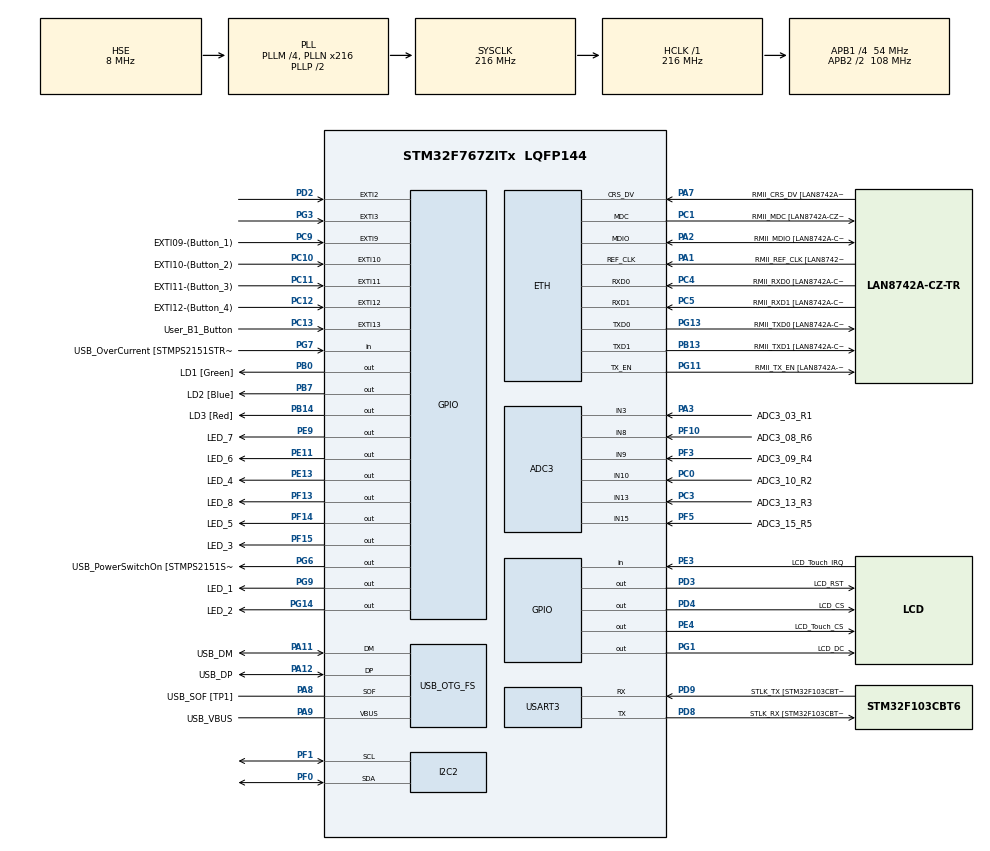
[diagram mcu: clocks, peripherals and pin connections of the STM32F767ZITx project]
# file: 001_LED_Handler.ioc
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ADC3.Channel-0\#ChannelRegularConversion=ADC_CHANNEL_3
ADC3.Channel-1\#ChannelRegularConversion=ADC_CHANNEL_10
ADC3.Channel-2\#ChannelRegularConversion=ADC_CHANNEL_13
ADC3.Channel-3\#ChannelRegularConversion=ADC_CHANNEL_9
ADC3.Channel-4\#ChannelRegularConversion=ADC_CHANNEL_15
ADC3.Channel-5\#ChannelRegularConversion=ADC_CHANNEL_8
ADC3.ContinuousConvMode=ENABLE
ADC3.DMAContinuousRequests=ENABLE
ADC3.DiscontinuousConvMode=DISABLE
ADC3.NbrOfConversion=6
ADC3.NbrOfConversionFlag=1
ADC3.Rank-0\#ChannelRegularConversion=1
ADC3.Rank-1\#ChannelRegularConversion=2
ADC3.Rank-2\#ChannelRegularConversion=3
ADC3.Rank-3\#ChannelRegularConversion=4
ADC3.Rank-4\#ChannelRegularConversion=5
ADC3.Rank-5\#ChannelRegularConversion=6
ADC3.SamplingTime-0\#ChannelRegularConversion=ADC_SAMPLETIME_480CYCLES
ADC3.SamplingTime-1\#ChannelRegularConversion=ADC_SAMPLETIME_480CYCLES
ADC3.SamplingTime-2\#ChannelRegularConversion=ADC_SAMPLETIME_480CYCLES
ADC3.SamplingTime-3\#ChannelRegularConversion=ADC_SAMPLETIME_480CYCLES
ADC3.SamplingTime-4\#ChannelRegularConversion=ADC_SAMPLETIME_480CYCLES
ADC3.SamplingTime-5\#ChannelRegularConversion=ADC_SAMPLETIME_480CYCLES
Dma.ADC3.0.Direction=DMA_PERIPH_TO_MEMORY
Dma.ADC3.0.FIFOMode=DMA_FIFOMODE_DISABLE
Dma.ADC3.0.Instance=DMA2_Stream0
Dma.ADC3.0.MemDataAlignment=DMA_MDATAALIGN_HALFWORD
Dma.ADC3.0.MemInc=DMA_MINC_DISABLE
Dma.ADC3.0.Mode=DMA_CIRCULAR
Dma.ADC3.0.PeriphDataAlignment=DMA_PDATAALIGN_HALFWORD
Dma.ADC3.0.PeriphInc=DMA_PINC_DISABLE
Dma.ADC3.0.Priority=DMA_PRIORITY_LOW
Dma.Request0=ADC3
ETH.MediaInterface=HAL_ETH_RMII_MODE
ETH.PHY_Name=LAN8742A_PHY_ADDRESS
ETH.PHY_Value=0
ETH.PhyAddress=0
I2C2.Timing=0x20404768
Mcu.Family=STM32F7
Mcu.Name=STM32F767ZITx
Mcu.Package=LQFP144
NVIC.DMA2_Stream0_IRQn=true\:0\:0\:false\:false\:true\:false\:true\:true
NVIC.EXTI15_10_IRQn=true\:1\:0\:true\:false\:true\:true\:true\:true
NVIC.PriorityGroup=NVIC_PRIORITYGROUP_4
PA1.GPIO_Label=RMII_REF_CLK [LAN8742A-CZ-TR_REFCLK0]
PA1.Mode=RMII
PA1.Signal=ETH_REF_CLK
PA10.GPIO_Label=USB_ID
PA10.Signal=USB_OTG_FS_ID
PA11.GPIO_Label=USB_DM
PA11.Mode=Device_Only
PA11.Signal=USB_OTG_FS_DM
PA12.GPIO_Label=USB_DP
PA12.Mode=Device_Only
PA12.Signal=USB_OTG_FS_DP
PA13.GPIO_Label=TMS
PA13.Mode=Serial_Wire
PA13.Signal=SYS_JTMS-SWDIO
PA14.GPIO_Label=TCK
PA14.Mode=Serial_Wire
PA14.Signal=SYS_JTCK-SWCLK
PA2.GPIO_Label=RMII_MDIO [LAN8742A-CZ-TR_MDIO]
PA2.Mode=RMII
PA2.Signal=ETH_MDIO
PA3.GPIO_Label=ADC3_03_R1
PA3.Signal=ADCx_IN3
PA6.GPIO_Label=TIM3_CH1-[RGB-RED]
PA6.Signal=S_TIM3_CH1
PA7.GPIO_Label=RMII_CRS_DV [LAN8742A-CZ-TR_CRS_DV]
PA7.Mode=RMII
PA7.Signal=ETH_CRS_DV
PA8.GPIO_Label=USB_SOF [TP1]
PA8.Mode=Activate_SOF_FS
PA8.Signal=USB_OTG_FS_SOF
PA9.GPIO_Label=USB_VBUS
PA9.Mode=Activate_VBUS
PA9.Signal=USB_OTG_FS_VBUS
PB0.GPIO_Label=LD1 [Green]
PB0.Signal=GPIO_Output
PB1.Signal=S_TIM3_CH4
PB13.GPIO_Label=RMII_TXD1 [LAN8742A-CZ-TR_TXD1]
PB13.Mode=RMII
PB13.Signal=ETH_TXD1
PB14.GPIO_Label=LD3 [Red]
PB14.Signal=GPIO_Output
PB3.GPIO_Label=SWO
PB3.Signal=SYS_JTDO-SWO
PB7.GPIO_Label=LD2 [Blue]
PB7.Signal=GPIO_Output
PC0.GPIO_Label=ADC3_10_R2
PC0.Signal=ADCx_IN10
PC1.GPIO_Label=RMII_MDC [LAN8742A-CZ-TR_MDC]
PC1.Mode=RMII
PC1.Signal=ETH_MDC
PC10.GPIO_Label=EXTI10-(Button_2)
PC10.Signal=GPXTI10
PC11.GPIO_Label=EXTI11-(Button_3)
PC11.Signal=GPXTI11
PC12.GPIO_Label=EXTI12-(Button_4)
PC12.Signal=GPXTI12
PC13.GPIO_Label=User_B1_Button
PC13.Signal=GPXTI13
PC14/OSC32_IN.Signal=RCC_OSC32_IN
PC15/OSC32_OUT.Signal=RCC_OSC32_OUT
PC3.GPIO_Label=ADC3_13_R3
PC3.Signal=ADCx_IN13
PC4.GPIO_Label=RMII_RXD0 [LAN8742A-CZ-TR_RXD0]
PC4.Mode=RMII
PC4.Signal=ETH_RXD0
PC5.GPIO_Label=RMII_RXD1 [LAN8742A-CZ-TR_RXD1]
PC5.Mode=RMII
PC5.Signal=ETH_RXD1
PC7.GPIO_Label=TIM3_CH2-[RGB-Green]
PC7.Signal=S_TIM3_CH2
PC8.GPIO_Label=TIM3_CH3-[RGB-Blue]
PC8.Signal=S_TIM3_CH3
PC9.GPIO_Label=EXTI09-(Button_1)
PC9.Signal=GPXTI9
PD12.Signal=S_TIM4_CH1
PD13.Signal=S_TIM4_CH2
PD14.Signal=S_TIM4_CH3
PD15.Signal=S_TIM4_CH4
PD2.Signal=GPXTI2
PD3.GPIO_Label=LCD_RST
PD3.Signal=GPIO_Output
PD4.GPIO_Label=LCD_CS
PD4.Signal=GPIO_Output
PD8.GPIO_Label=STLK_RX [STM32F103CBT6_PA3]
PD8.Mode=Asynchronous
PD8.Signal=USART3_TX
PD9.GPIO_Label=STLK_TX [STM32F103CBT6_PA2]
PD9.Mode=Asynchronous
PD9.Signal=USART3_RX
PE11.GPIO_Label=LED_6
PE11.Signal=GPIO_Output
PE13.GPIO_Label=LED_4
PE13.Signal=GPIO_Output
PE2.GPIO_Label=LCD-Touch-CLK
PE2.Signal=SPI4_SCK
PE3.GPIO_Label=LCD_Touch_IRQ
PE3.Signal=GPIO_Input
PE4.GPIO_Label=LCD_Touch_CS
PE4.Signal=GPIO_Output
PE5.GPIO_Label=LCD_Touch_DO
PE5.Signal=SPI4_MISO
PE6.GPIO_Label=LCD_Touch_DIN
PE6.Signal=SPI4_MOSI
PE9.GPIO_Label=LED_7
PE9.Signal=GPIO_Output
PF0.Mode=I2C
PF0.Signal=I2C2_SDA
PF1.Mode=I2C
PF1.Signal=I2C2_SCL
PF10.GPIO_Label=ADC3_08_R6
PF10.Mode=IN8
PF10.Signal=ADC3_IN8
PF13.GPIO_Label=LED_8
PF13.Signal=GPIO_Output
PF14.GPIO_Label=LED_5
PF14.Signal=GPIO_Output
PF15.GPIO_Label=LED_3
PF15.Signal=GPIO_Output
PF3.GPIO_Label=ADC3_09_R4
PF3.Mode=IN9
PF3.Signal=ADC3_IN9
PF5.GPIO_Label=ADC3_15_R5
PF5.Mode=IN15
PF5.Signal=ADC3_IN15
PF7.GPIO_Label=LCD_SCK
PF7.Signal=SPI5_SCK
PF8.GPIO_Label=LCD_MISO
PF8.Signal=SPI5_MISO
PF9.GPIO_Label=LCD_MOSI
PF9.Signal=SPI5_MOSI
PG1.GPIO_Label=LCD_DC
PG1.Signal=GPIO_Output
PG11.GPIO_Label=RMII_TX_EN [LAN8742A-CZ-TR_TXEN]
PG11.Mode=RMII
PG11.Signal=ETH_TX_EN
PG13.GPIO_Label=RMII_TXD0 [LAN8742A-CZ-TR_TXD0]
PG13.Mode=RMII
PG13.Signal=ETH_TXD0
PG14.GPIO_Label=LED_2
PG14.Signal=GPIO_Output
PG3.Signal=GPXTI3
PG6.GPIO_Label=USB_PowerSwitchOn [STMPS2151STR_EN]
PG6.Signal=GPIO_Output
PG7.GPIO_Label=USB_OverCurrent [STMPS2151STR_FAULT]
PG7.Signal=GPIO_Input
PG9.GPIO_Label=LED_1
PG9.Signal=GPIO_Output
PH0/OSC_IN.GPIO_Label=MCO [STM32F103CBT6_PA8]
PH0/OSC_IN.Mode=HSE-External-Clock-Source
PH0/OSC_IN.Signal=RCC_OSC_IN
PH1/OSC_OUT.Mode=HSE-External-Clock-Source
PH1/OSC_OUT.Signal=RCC_OSC_OUT
ProjectManager.HeapSize=0x200
ProjectManager.StackSize=0x400
ProjectManager.TargetToolchain=STM32CubeIDE
RCC.48MHZClocksFreq_Value=24000000
RCC.AHBFreq_Value=216000000
RCC.APB1CLKDivider=RCC_HCLK_DIV4
RCC.APB1Freq_Value=54000000
RCC.APB1TimFreq_Value=108000000
RCC.APB2CLKDivider=RCC_HCLK_DIV2
RCC.APB2Freq_Value=108000000
RCC.APB2TimFreq_Value=216000000
RCC.CortexFreq_Value=216000000
RCC.HCLKFreq_Value=216000000
RCC.HSE_VALUE=8000000
RCC.HSI_VALUE=16000000
RCC.PLLM=4
RCC.PLLMUL=RCC_PLL_MUL9
RCC.PLLN=216
RCC.PLLQ=9
RCC.PRESCALERUSB=RCC_USBCLKSOURCE_PLL_DIV1_5
RCC.SYSCLKFreq_VALUE=216000000
RCC.SYSCLKSource=RCC_SYSCLKSOURCE_PLLCLK
RCC.SYSCLKSourceVirtual=RCC_SYSCLKSOURCE_PLLCLK
RCC.USBFreq_Value=48000000
RCC.VCOOutputFreq_Value=432000000
SH.ADCx_IN10.0=ADC3_IN10,IN10
SH.ADCx_IN13.0=ADC3_IN13,IN13
SH.ADCx_IN3.0=ADC3_IN3,IN3
SH.S_TIM3_CH1.0=TIM3_CH1
SH.S_TIM3_CH2.0=TIM3_CH2
SH.S_TIM3_CH3.0=TIM3_CH3
SH.S_TIM3_CH4.0=TIM3_CH4
SH.S_TIM4_CH1.0=TIM4_CH1
SH.S_TIM4_CH2.0=TIM4_CH2
SH.S_TIM4_CH3.0=TIM4_CH3
SH.S_TIM4_CH4.0=TIM4_CH4
USART3.VirtualMode-Asynchronous=VM_ASYNC
USB_OTG_FS.VirtualMode=Device_Only
VP_RNG_VS_RNG.Mode=RNG_Activate
board=NUCLEO-F767ZI

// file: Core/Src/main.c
/* USER CODE BEGIN Header */
/**
  ******************************************************************************
  * @file           : main.c
  * @brief          : Main program body
  ******************************************************************************
  * @attention
  *
  * Copyright (c) 2025 STMicroelectronics.
  * All rights reserved.
  *
  * This software is licensed under terms that can be found in the LICENSE file
  * in the root directory of this software component.
  * If no LICENSE file comes with this software, it is provided AS-IS.
  *
  ******************************************************************************
  */
/* USER CODE END Header */
#include "main.h"
#include "adc.h"
#include "dma.h"
#include "eth.h"
#include "i2c.h"
#include "rng.h"
#include "usart.h"
#include "usb_otg.h"
#include "gpio.h"

/* USER CODE BEGIN Includes */
#include<stdio.h>
#include<stdlib.h>
#include<string.h>
#include <stddef.h>  /* for size_t */
/* USER CODE END Includes */

/* USER CODE BEGIN PD */

  // Your sequence: each row = LED_1..LED_8 as 0/1
  static const uint8_t SEQ[16][8] = {
		  {1,1,1,1,0,0,0,0},
		  {1,1,1,0,0,0,0,0},
		  {1,1,0,1,0,0,0,0},
		  {1,1,0,0,0,0,0,0},
		  {1,0,1,1,0,0,0,0},
		  {1,0,1,0,0,0,0,0},
		  {1,0,0,1,0,0,0,0},
		  {1,0,0,0,0,0,0,0},
		  {0,1,1,1,0,0,0,0},
		  {0,1,1,0,0,0,0,0},
		  {0,1,0,1,0,0,0,0},
		  {0,1,0,0,0,0,0,0},
		  {0,0,1,1,0,0,0,0},
		  {0,0,1,0,0,0,0,0},
		  {0,0,0,1,0,0,0,0},
		  {0,0,0,0,0,0,0,0},
  };

#define BTN1_PIN   EXTI09__Pin
#define BTN1_PORT  EXTI09__GPIO_Port

#define BTN2_PIN   EXTI10__Pin
#define BTN2_PORT  EXTI10__GPIO_Port

#define BTN3_PIN   EXTI11__Pin
#define BTN3_PORT  EXTI11__GPIO_Port

#define BTN4_PIN   EXTI12__Pin
#define BTN4_PORT  EXTI12__GPIO_Port

/* ===== Canonical GPIO name aliases for LEDs =====
   Map CubeMX-generated symbols (LED_1_Pin, etc.) to uniform PORT_/PIN_ names.
   If a label doesn't exist in your project it simply won't be used. */

#ifdef LED_1_Pin
  #define PORT_LED1   LED_1_GPIO_Port
  #define PIN_LED1    LED_1_Pin
#endif
#ifdef LED_2_Pin
  #define PORT_LED2   LED_2_GPIO_Port
  #define PIN_LED2    LED_2_Pin
#endif
#ifdef LED_3_Pin
  #define PORT_LED3   LED_3_GPIO_Port
  #define PIN_LED3    LED_3_Pin
#endif
#ifdef LED_4_Pin
  #define PORT_LED4   LED_4_GPIO_Port
  #define PIN_LED4    LED_4_Pin
#endif
#ifdef LED_5_Pin
  #define PORT_LED5   LED_5_GPIO_Port
  #define PIN_LED5    LED_5_Pin
#endif
#ifdef LED_6_Pin
  #define PORT_LED6   LED_6_GPIO_Port
  #define PIN_LED6    LED_6_Pin
#endif
#ifdef LED_7_Pin
  #define PORT_LED7   LED_7_GPIO_Port
  #define PIN_LED7    LED_7_Pin
#endif
#ifdef LED_8_Pin
  #define PORT_LED8   LED_8_GPIO_Port
  #define PIN_LED8    LED_8_Pin
#endif

#ifdef LD1_Pin
  #define PORT_LD1    LD1_GPIO_Port
  #define PIN_LD1     LD1_Pin
#endif
#ifdef LD2_Pin
  #define PORT_LD2    LD2_GPIO_Port
  #define PIN_LD2     LD2_Pin
#endif
#ifdef LD3_Pin
  #define PORT_LD3    LD3_GPIO_Port
  #define PIN_LD3     LD3_Pin
#endif

/* Small holder for GPIO pairs */
typedef struct { GPIO_TypeDef *port; uint16_t pin; } GpioDef;

/* A single array that contains ALL LEDs (LED_1..LED_8 and LD1..LD3) */
static const GpioDef all_leds[] = {
#ifdef PORT_LED1
  { PORT_LED1, PIN_LED1 },
#endif
#ifdef PORT_LED2
  { PORT_LED2, PIN_LED2 },
#endif
#ifdef PORT_LED3
  { PORT_LED3, PIN_LED3 },
#endif
#ifdef PORT_LED4
  { PORT_LED4, PIN_LED4 },
#endif
#ifdef PORT_LED5
  { PORT_LED5, PIN_LED5 },
#endif
#ifdef PORT_LED6
  { PORT_LED6, PIN_LED6 },
#endif
#ifdef PORT_LED7
  { PORT_LED7, PIN_LED7 },
#endif
#ifdef PORT_LED8
  { PORT_LED8, PIN_LED8 },
#endif
#ifdef PORT_LD1
  { PORT_LD1, PIN_LD1 },
#endif
#ifdef PORT_LD2
  { PORT_LD2, PIN_LD2 },
#endif
#ifdef PORT_LD3
  { PORT_LD3, PIN_LD3 },
#endif
};

/* USER CODE END PD */

/* USER CODE BEGIN PV */
UART_HandleTypeDef huart3;
size_t idx = 0;
uint16_t rounds = 16;
/* USER CODE END PV */

void SystemClock_Config(void);

/* USER CODE BEGIN 0 */

/* Write same state to an array of GPIOs */
static void set_array(const GpioDef *arr, size_t count, GPIO_PinState s)
{
  for (size_t i = 0; i < count; ++i) {
    HAL_GPIO_WritePin(arr[i].port, arr[i].pin, s);
  }
}

/* Write same state to an array of GPIOs */
static void set_led(const GpioDef led, GPIO_PinState s)
{
	HAL_GPIO_WritePin(led.port, led.pin, s);
}

/* USER CODE END 0 */

int main(void)
{

  /* MCU Configuration--------------------------------------------------------*/

  /* Reset of all peripherals, Initializes the Flash interface and the Systick. */
  HAL_Init();

  /* Configure the system clock */
  SystemClock_Config();

  /* Initialize all configured peripherals */
  MX_GPIO_Init();
  MX_DMA_Init();
  MX_ETH_Init();
  MX_USART3_UART_Init();
  MX_USB_OTG_FS_PCD_Init();
  MX_ADC3_Init();
  MX_RNG_Init();
  MX_I2C2_Init();
  /* USER CODE BEGIN 2 */
  /* Optional: ensure all LEDs start OFF */
  set_array(all_leds, sizeof(all_leds)/sizeof(all_leds[0]), GPIO_PIN_RESET);
  /* USER CODE END 2 */

  /* Infinite loop */
  while (1)
  {

    /* USER CODE BEGIN 3 */

//
//	  char msg[96];
//	  int n = snprintf(msg, sizeof(msg),
//			  "LED%d is %d\r\n",
//			  j+1,
//			  state
//			  );
//	  size_t len = (n < 0) ? 0 : (n >= (int)sizeof(msg) ? sizeof(msg) - 1 : (size_t)n);
//	  HAL_UART_Transmit(&huart3, (uint8_t*)msg, (uint16_t)len, 1000);
//
//
  for(int i = 0 ; i < 16; i ++){
	  idx = i;
	for (size_t j = 0; j < 8; ++j) {
	GPIO_PinState state = SEQ[idx][j] ? GPIO_PIN_SET : GPIO_PIN_RESET;
	  set_led(all_leds[j] ,state);
	}
	HAL_Delay(400);
  }
  while(1){}
  }
  /* USER CODE END 3 */
}

void SystemClock_Config(void)
{
  RCC_OscInitTypeDef RCC_OscInitStruct = {0};
  RCC_ClkInitTypeDef RCC_ClkInitStruct = {0};

  /** Configure the main internal regulator output voltage
  */
  __HAL_RCC_PWR_CLK_ENABLE();
  __HAL_PWR_VOLTAGESCALING_CONFIG(PWR_REGULATOR_VOLTAGE_SCALE1);

  /** Initializes the RCC Oscillators according to the specified parameters
  * in the RCC_OscInitTypeDef structure.
  */
  RCC_OscInitStruct.OscillatorType = RCC_OSCILLATORTYPE_HSE;
  RCC_OscInitStruct.HSEState = RCC_HSE_BYPASS;
  RCC_OscInitStruct.PLL.PLLState = RCC_PLL_ON;
  RCC_OscInitStruct.PLL.PLLSource = RCC_PLLSOURCE_HSE;
  RCC_OscInitStruct.PLL.PLLM = 4;
  RCC_OscInitStruct.PLL.PLLN = 216;
  RCC_OscInitStruct.PLL.PLLP = RCC_PLLP_DIV2;
  RCC_OscInitStruct.PLL.PLLQ = 9;
  RCC_OscInitStruct.PLL.PLLR = 2;
  if (HAL_RCC_OscConfig(&RCC_OscInitStruct) != HAL_OK)
  {
    Error_Handler();
  }

  /** Activate the Over-Drive mode
  */
  if (HAL_PWREx_EnableOverDrive() != HAL_OK)
  {
    Error_Handler();
  }

  /** Initializes the CPU, AHB and APB buses clocks
  */
  RCC_ClkInitStruct.ClockType = RCC_CLOCKTYPE_HCLK|RCC_CLOCKTYPE_SYSCLK
                              |RCC_CLOCKTYPE_PCLK1|RCC_CLOCKTYPE_PCLK2;
  RCC_ClkInitStruct.SYSCLKSource = RCC_SYSCLKSOURCE_PLLCLK;
  RCC_ClkInitStruct.AHBCLKDivider = RCC_SYSCLK_DIV1;
  RCC_ClkInitStruct.APB1CLKDivider = RCC_HCLK_DIV4;
  RCC_ClkInitStruct.APB2CLKDivider = RCC_HCLK_DIV2;

  if (HAL_RCC_ClockConfig(&RCC_ClkInitStruct, FLASH_LATENCY_7) != HAL_OK)
  {
    Error_Handler();
  }
}
/* USER CODE BEGIN 4 */
void HAL_GPIO_EXTI_Callback(uint16_t GPIO_Pin)
{
  // simple debounce shared by all buttons
  static uint32_t last_tick = 0;
  uint32_t now = HAL_GetTick();
  if (now - last_tick < 200) return;   // ~200 ms
  last_tick = now;

  // persist current frame index across button presses
  // how many LEDs we actually have in all_leds (cap at 8)
  if (GPIO_Pin == BTN2_PIN) {
    // clear all & reset sequence to the stadrt
    for (size_t j = 0; j < 8; ++j) {
      HAL_GPIO_WritePin(all_leds[j].port, all_leds[j].pin, GPIO_PIN_RESET);
    }
  }

  // BTN3/BTN4 free for other actions if you want later
}
/* USER CODE END 4 */

void Error_Handler(void)
{
  /* USER CODE BEGIN Error_Handler_Debug */
  __disable_irq();
  while (1)
  {
    /* Optionally flash a board LED fast here to indicate a fault */
  }
  /* USER CODE END Error_Handler_Debug */
}
